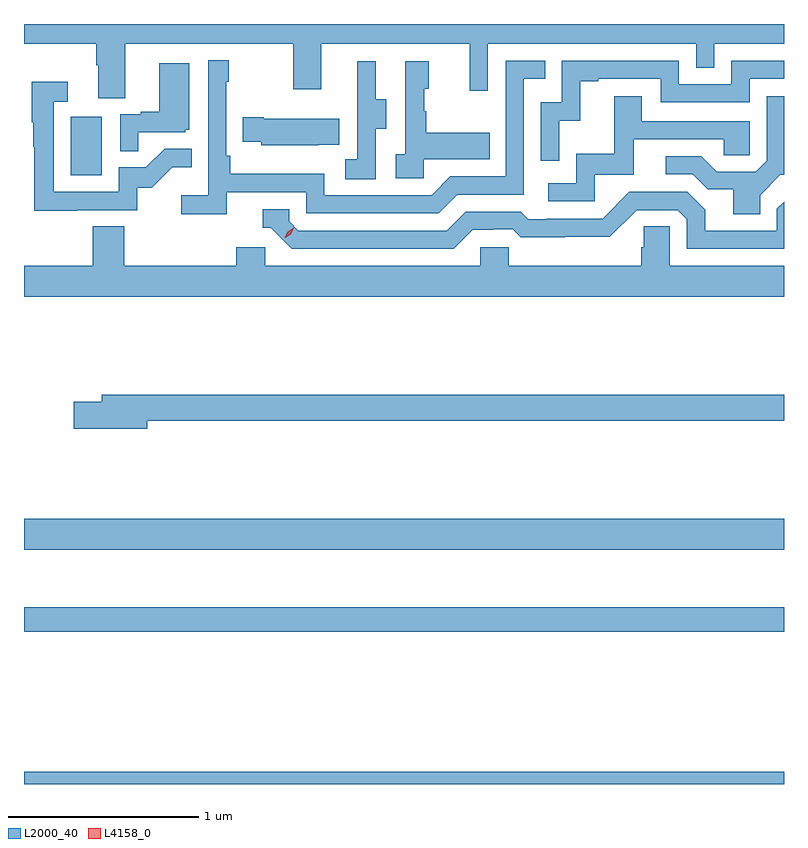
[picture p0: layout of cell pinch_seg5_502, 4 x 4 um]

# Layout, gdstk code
import gdstk
lib = gdstk.Library(unit=1e-6, precision=1e-09)
def R(c, l, rs):  # rectangles x0, y0, x1, y1
    for r in rs: c.add(gdstk.rectangle(r[:2], r[2:], *l))
def P(c, l, *ps):  # polygons
    for p in ps: c.add(gdstk.Polygon(p, *l))
L2000_40 = (2000, 40)
L4158_0 = (4158, 0)

pinch_seg5_502 = lib.new_cell('pinch_seg5_502')
R(pinch_seg5_502, L2000_40, [(891.237,847.536,895.237,847.6), (891.237,848.338,895.237,848.467), (891.237,848.768,895.237,848.932), (891.482,850.74,891.646,851.047)])
P(pinch_seg5_502, L2000_40, [(891.769,851.432),(892.654,851.432),(892.654,851.193),(892.801,851.193),(892.801,851.432),(893.582,851.432),(893.582,851.184),(893.679,851.184),(893.679,851.432),(894.774,851.432),(894.774,851.305),(894.87,851.305),(894.87,851.432),(895.237,851.432),(895.237,851.536),(891.237,851.536),(891.237,851.432),(891.617,851.432),(891.617,851.32),(891.629,851.32),(891.629,851.146),(891.769,851.146)],
  [(892.304,850.65),(892.722,850.65),(892.722,850.539),(893.419,850.539),(893.518,850.638),(893.868,850.638),(893.868,851.247),(893.981,851.247),(893.981,851.343),(893.772,851.343),(893.772,850.734),(893.481,850.734),(893.382,850.635),(892.818,850.635),(892.818,850.747),(892.322,850.747),(892.322,850.843),(892.302,850.843),(892.302,851.231),(892.315,851.231),(892.315,851.344),(892.206,851.344),(892.206,850.636),(892.065,850.636),(892.065,850.534),(892.304,850.534)],
  [(894.054,851.027),(894.164,851.027),(894.164,851.235),(894.259,851.235),(894.259,851.247),(894.588,851.247),(894.588,851.124),(895.056,851.124),(895.056,851.247),(895.237,851.247),(895.237,851.343),(894.96,851.343),(894.96,851.22),(894.684,851.22),(894.684,851.343),(894.066,851.343),(894.066,851.124),(893.958,851.124),(893.958,850.815),(894.054,850.815)],
  [(893.34,850.823),(893.687,850.823),(893.687,850.963),(893.353,850.963),(893.353,851.078),(893.343,851.078),(893.343,851.196),(893.368,851.196),(893.368,851.341),(893.244,851.341),(893.244,850.85),(893.193,850.85),(893.193,850.725),(893.34,850.725)],
  [(893.088,850.984),(893.143,850.984),(893.143,851.139),(893.089,851.139),(893.089,851.341),(892.991,851.341),(892.991,851.127),(892.992,851.127),(892.992,850.823),(892.929,850.823),(892.929,850.72),(893.088,850.72)],
  [(891.839,850.965),(892.086,850.965),(892.086,850.98),(892.108,850.98),(892.108,851.329),(891.95,851.329),(891.95,851.074),(891.851,851.074),(891.851,851.061),(891.744,851.061),(891.744,850.867),(891.839,850.867)],
  [(891.515,850.557),(891.834,850.557),(891.834,850.674),(891.91,850.674),(892.017,850.781),(892.121,850.781),(892.121,850.88),(891.977,850.88),(891.879,850.782),(891.735,850.782),(891.735,850.653),(891.393,850.653),(891.393,851.127),(891.466,851.127),(891.466,851.233),(891.277,851.233),(891.277,851.02),(891.285,851.02),(891.285,850.89),(891.292,850.89),(891.292,850.552),(891.515,850.552)],
  [(894.24,850.743),(894.445,850.743),(894.445,850.929),(894.919,850.929),(894.919,850.845),(895.056,850.845),(895.056,851.025),(894.487,851.025),(894.487,851.155),(894.343,851.155),(894.343,850.852),(894.144,850.852),(894.144,850.698),(893.997,850.698),(893.997,850.602),(894.24,850.602)],
  [(895.111,850.636),(895.218,850.743),(895.237,850.743),(895.237,851.155),(895.146,851.155),(895.146,850.815),(895.089,850.758),(894.883,850.758),(894.802,850.839),(894.615,850.839),(894.615,850.746),(894.756,850.746),(894.836,850.666),(894.971,850.666),(894.971,850.534),(895.111,850.534)],
  [(892.787,850.901),(892.895,850.901),(892.895,851.038),(892.498,851.038),(892.498,851.046),(892.387,851.046),(892.387,850.916),(892.485,850.916),(892.485,850.898),(892.787,850.898)],
  [(893.599,850.452),(893.706,850.452),(893.706,850.455),(893.809,850.455),(893.851,850.413),(894.084,850.413),(894.084,850.415),(894.32,850.415),(894.462,850.557),(894.678,850.557),(894.726,850.509),(894.726,850.353),(895.237,850.353),(895.237,850.6),(895.2,850.563),(895.2,850.449),(894.823,850.449),(894.823,850.559),(894.729,850.653),(894.423,850.653),(894.282,850.512),(893.989,850.512),(893.989,850.509),(893.89,850.509),(893.851,850.548),(893.562,850.548),(893.463,850.449),(892.68,850.449),(892.632,850.497),(892.632,850.56),(892.493,850.56),(892.493,850.464),(892.536,850.464),(892.647,850.353),(893.5,850.353)],
  [(895.237,850.264),(894.636,850.264),(894.636,850.472),(894.499,850.472),(894.499,850.362),(894.485,850.362),(894.485,850.264),(893.787,850.264),(893.787,850.362),(893.637,850.362),(893.637,850.264),(892.506,850.264),(892.506,850.362),(892.355,850.362),(892.355,850.264),(891.764,850.264),(891.764,850.472),(891.599,850.472),(891.599,850.264),(891.237,850.264),(891.237,850.1),(895.237,850.1)],
  [(891.886,849.448),(895.237,849.448),(895.237,849.584),(891.647,849.584),(891.647,849.548),(891.498,849.548),(891.498,849.406),(891.886,849.406)])
P(pinch_seg5_502, L4158_0, [(892.61,850.41),(892.61,850.41),(892.625,850.443),(892.656,850.463),(892.656,850.463),(892.656,850.463),(892.641,850.43),(892.611,850.41)])

lib.write_gds('pinch_seg5_502.gds')
